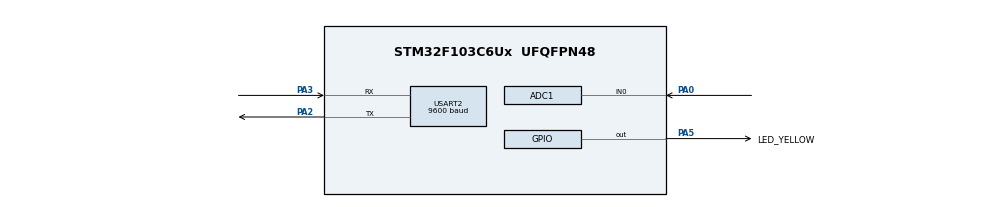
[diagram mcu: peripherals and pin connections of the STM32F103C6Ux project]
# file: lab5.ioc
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ADC1.Channel-0\#ChannelRegularConversion=ADC_CHANNEL_0
ADC1.ContinuousConvMode=ENABLE
ADC1.NbrOfConversionFlag=1
ADC1.Rank-0\#ChannelRegularConversion=1
ADC1.SamplingTime-0\#ChannelRegularConversion=ADC_SAMPLETIME_1CYCLE_5
ADC1.master=1
Mcu.Family=STM32F1
Mcu.Name=STM32F103C6Ux
Mcu.Package=UFQFPN48
NVIC.PriorityGroup=NVIC_PRIORITYGROUP_4
NVIC.TIM2_IRQn=true\:0\:0\:false\:false\:true\:true\:true
NVIC.USART2_IRQn=true\:0\:0\:false\:false\:true\:true\:true
PA0-WKUP.Signal=ADCx_IN0
PA2.Mode=Asynchronous
PA2.Signal=USART2_TX
PA3.Mode=Asynchronous
PA3.Signal=USART2_RX
PA5.GPIO_Label=LED_YELLOW
PA5.Signal=GPIO_Output
ProjectManager.HeapSize=0x200
ProjectManager.StackSize=0x400
ProjectManager.TargetToolchain=STM32CubeIDE
RCC.APB1Freq_Value=8000000
RCC.APB2Freq_Value=8000000
SH.ADCx_IN0.0=ADC1_IN0,IN0
TIM2.Period=9
TIM2.Prescaler=7999
USART2.BaudRate=9600
USART2.VirtualMode=VM_ASYNC
VP_SYS_VS_ND.Mode=No_Debug
VP_TIM2_VS_ClockSourceINT.Mode=Internal
board=custom

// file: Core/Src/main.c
/* USER CODE BEGIN Header */
/**
  ******************************************************************************
  * @file           : main.c
  * @brief          : Main program body
  ******************************************************************************
  * @attention
  *
  * <h2><center>&copy; Copyright (c) 2026 STMicroelectronics.
  * All rights reserved.</center></h2>
  *
  * This software component is licensed by ST under BSD 3-Clause license,
  * the "License"; You may not use this file except in compliance with the
  * License. You may obtain a copy of the License at:
  *                        opensource.org/licenses/BSD-3-Clause
  *
  ******************************************************************************
  */
/* USER CODE END Header */
#include "main.h"

/* USER CODE BEGIN Includes */
#include "timer.h"
#include "command_parser.h"
#include "uart_communication.h"
/* USER CODE END Includes */

ADC_HandleTypeDef hadc1;

TIM_HandleTypeDef htim2;

UART_HandleTypeDef huart2;

void SystemClock_Config(void);
static void MX_GPIO_Init(void);
static void MX_ADC1_Init(void);
static void MX_TIM2_Init(void);
static void MX_USART2_UART_Init(void);

int main(void)
{

  /* MCU Configuration--------------------------------------------------------*/

  /* Reset of all peripherals, Initializes the Flash interface and the Systick. */
  HAL_Init();

  /* Configure the system clock */
  SystemClock_Config();

  /* Initialize all configured peripherals */
  MX_GPIO_Init();
  MX_ADC1_Init();
  MX_TIM2_Init();
  MX_USART2_UART_Init();
  /* USER CODE BEGIN 2 */
  HAL_TIM_Base_Start_IT(&htim2);
  HAL_ADC_Start(&hadc1);
  HAL_UART_Receive_IT(&huart2, &temp, 1);
  setTimer2(500);
  /* USER CODE END 2 */

  /* Infinite loop */
  /* USER CODE BEGIN WHILE */
  while (1)
  {
	  if (timer2_flag == 1) {
	      setTimer2(500);
	      HAL_GPIO_TogglePin(LED_YELLOW_GPIO_Port, LED_YELLOW_Pin);
	  }
	  if (buffer_flag == 1) {
	      command_parser_fsm();
	      buffer_flag = 0;
	  }

	  uart_communication_fsm();
    /* USER CODE END WHILE */

  }
}

void SystemClock_Config(void)
{
  RCC_OscInitTypeDef RCC_OscInitStruct = {0};
  RCC_ClkInitTypeDef RCC_ClkInitStruct = {0};
  RCC_PeriphCLKInitTypeDef PeriphClkInit = {0};

  /** Initializes the RCC Oscillators according to the specified parameters
  * in the RCC_OscInitTypeDef structure.
  */
  RCC_OscInitStruct.OscillatorType = RCC_OSCILLATORTYPE_HSI;
  RCC_OscInitStruct.HSIState = RCC_HSI_ON;
  RCC_OscInitStruct.HSICalibrationValue = RCC_HSICALIBRATION_DEFAULT;
  RCC_OscInitStruct.PLL.PLLState = RCC_PLL_NONE;
  if (HAL_RCC_OscConfig(&RCC_OscInitStruct) != HAL_OK)
  {
    Error_Handler();
  }
  /** Initializes the CPU, AHB and APB buses clocks
  */
  RCC_ClkInitStruct.ClockType = RCC_CLOCKTYPE_HCLK|RCC_CLOCKTYPE_SYSCLK
                              |RCC_CLOCKTYPE_PCLK1|RCC_CLOCKTYPE_PCLK2;
  RCC_ClkInitStruct.SYSCLKSource = RCC_SYSCLKSOURCE_HSI;
  RCC_ClkInitStruct.AHBCLKDivider = RCC_SYSCLK_DIV1;
  RCC_ClkInitStruct.APB1CLKDivider = RCC_HCLK_DIV1;
  RCC_ClkInitStruct.APB2CLKDivider = RCC_HCLK_DIV1;

  if (HAL_RCC_ClockConfig(&RCC_ClkInitStruct, FLASH_LATENCY_0) != HAL_OK)
  {
    Error_Handler();
  }
  PeriphClkInit.PeriphClockSelection = RCC_PERIPHCLK_ADC;
  PeriphClkInit.AdcClockSelection = RCC_ADCPCLK2_DIV2;
  if (HAL_RCCEx_PeriphCLKConfig(&PeriphClkInit) != HAL_OK)
  {
    Error_Handler();
  }
}

static void MX_ADC1_Init(void)
{

  ADC_ChannelConfTypeDef sConfig = {0};

  /** Common config
  */
  hadc1.Instance = ADC1;
  hadc1.Init.ScanConvMode = ADC_SCAN_DISABLE;
  hadc1.Init.ContinuousConvMode = ENABLE;
  hadc1.Init.DiscontinuousConvMode = DISABLE;
  hadc1.Init.ExternalTrigConv = ADC_SOFTWARE_START;
  hadc1.Init.DataAlign = ADC_DATAALIGN_RIGHT;
  hadc1.Init.NbrOfConversion = 1;
  if (HAL_ADC_Init(&hadc1) != HAL_OK)
  {
    Error_Handler();
  }
  /** Configure Regular Channel
  */
  sConfig.Channel = ADC_CHANNEL_0;
  sConfig.Rank = ADC_REGULAR_RANK_1;
  sConfig.SamplingTime = ADC_SAMPLETIME_1CYCLE_5;
  if (HAL_ADC_ConfigChannel(&hadc1, &sConfig) != HAL_OK)
  {
    Error_Handler();
  }

}

static void MX_TIM2_Init(void)
{

  TIM_ClockConfigTypeDef sClockSourceConfig = {0};
  TIM_MasterConfigTypeDef sMasterConfig = {0};

  htim2.Instance = TIM2;
  htim2.Init.Prescaler = 7999;
  htim2.Init.CounterMode = TIM_COUNTERMODE_UP;
  htim2.Init.Period = 9;
  htim2.Init.ClockDivision = TIM_CLOCKDIVISION_DIV1;
  htim2.Init.AutoReloadPreload = TIM_AUTORELOAD_PRELOAD_DISABLE;
  if (HAL_TIM_Base_Init(&htim2) != HAL_OK)
  {
    Error_Handler();
  }
  sClockSourceConfig.ClockSource = TIM_CLOCKSOURCE_INTERNAL;
  if (HAL_TIM_ConfigClockSource(&htim2, &sClockSourceConfig) != HAL_OK)
  {
    Error_Handler();
  }
  sMasterConfig.MasterOutputTrigger = TIM_TRGO_RESET;
  sMasterConfig.MasterSlaveMode = TIM_MASTERSLAVEMODE_DISABLE;
  if (HAL_TIMEx_MasterConfigSynchronization(&htim2, &sMasterConfig) != HAL_OK)
  {
    Error_Handler();
  }

}

static void MX_USART2_UART_Init(void)
{

  huart2.Instance = USART2;
  huart2.Init.BaudRate = 9600;
  huart2.Init.WordLength = UART_WORDLENGTH_8B;
  huart2.Init.StopBits = UART_STOPBITS_1;
  huart2.Init.Parity = UART_PARITY_NONE;
  huart2.Init.Mode = UART_MODE_TX_RX;
  huart2.Init.HwFlowCtl = UART_HWCONTROL_NONE;
  huart2.Init.OverSampling = UART_OVERSAMPLING_16;
  if (HAL_UART_Init(&huart2) != HAL_OK)
  {
    Error_Handler();
  }

}

static void MX_GPIO_Init(void)
{
  GPIO_InitTypeDef GPIO_InitStruct = {0};

  /* GPIO Ports Clock Enable */
  __HAL_RCC_GPIOA_CLK_ENABLE();

  /*Configure GPIO pin Output Level */
  HAL_GPIO_WritePin(LED_YELLOW_GPIO_Port, LED_YELLOW_Pin, GPIO_PIN_RESET);

  /*Configure GPIO pin : LED_YELLOW_Pin */
  GPIO_InitStruct.Pin = LED_YELLOW_Pin;
  GPIO_InitStruct.Mode = GPIO_MODE_OUTPUT_PP;
  GPIO_InitStruct.Pull = GPIO_NOPULL;
  GPIO_InitStruct.Speed = GPIO_SPEED_FREQ_LOW;
  HAL_GPIO_Init(LED_YELLOW_GPIO_Port, &GPIO_InitStruct);

}

/* USER CODE BEGIN 4 */
void HAL_TIM_PeriodElapsedCallback(TIM_HandleTypeDef *htim) {
    if (htim->Instance == TIM2) {
        timer_run();
    }
}

void HAL_UART_RxCpltCallback(UART_HandleTypeDef *huart) {
	if (huart->Instance == USART2) {
        buffer[index_buffer++] = temp;
        if (index_buffer >= MAX_BUFFER_SIZE) {
            index_buffer = 0;
        }
        buffer_flag = 1;
        HAL_UART_Receive_IT(&huart2, &temp, 1);
    }
}
/* USER CODE END 4 */

void Error_Handler(void)
{
  __disable_irq();
  while (1)
  {
  }
}

/************************ (C) COPYRIGHT STMicroelectronics *****END OF FILE****/
